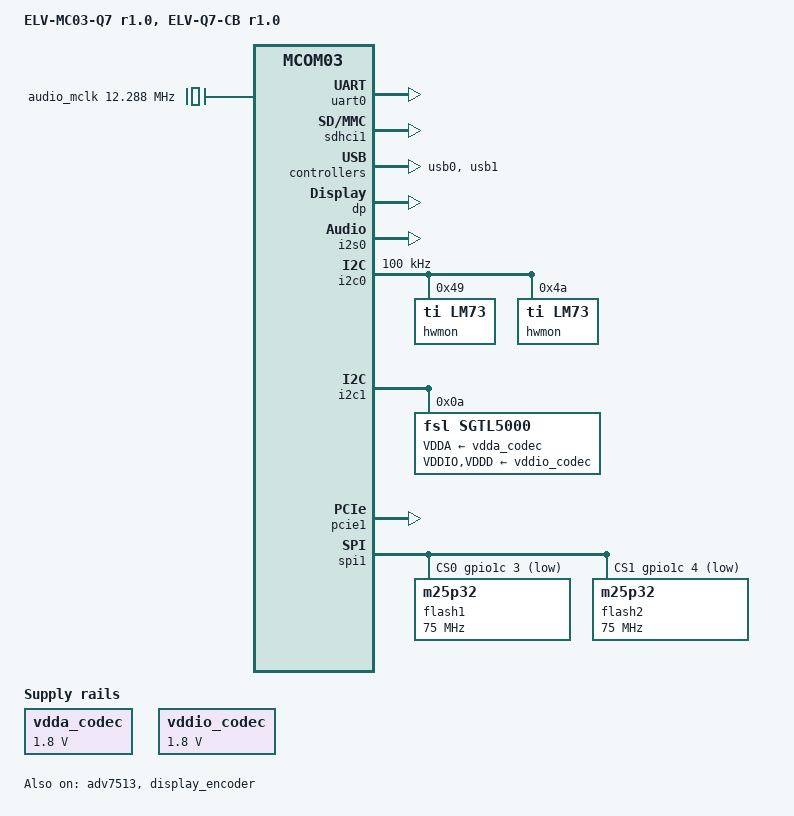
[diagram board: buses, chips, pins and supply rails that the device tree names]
// SPDX-License-Identifier: GPL-2.0+
/*
 * Copyright 2023 RnD Center "ELVEES", JSC
 */

/dts-v1/;

#include <dt-bindings/gpio/gpio.h>

#include "mcom03-elvmc03q7-r1.0.dtsi"

/ {
	model = "ELV-MC03-Q7 r1.0, ELV-Q7-CB r1.0";
	compatible = "elvees,elvmc03q7-r1.0-elvq7cb-r1.0",
		     "elvees,elvmc03q7-elvq7cb",
		     "elvees,elvq7cb-r1.0",
		     "elvees,elvq7cb",
		     "elvees,elvmc03q7-r1.0",
		     "elvees,elvmc03q7",
		     "elvees,mcom03";

	chosen {
		stdout-path = "serial0:115200n8";
	};

	vdda_codec: vdda-codec {
		compatible = "regulator-fixed";
		regulator-name = "vdda-codec";
		regulator-min-microvolt = <1800000>;
		regulator-max-microvolt = <1800000>;
		regulator-always-on;
	};

	vddio_codec: vddio-codec {
		compatible = "regulator-fixed";
		regulator-name = "vddio-codec";
		regulator-min-microvolt = <1800000>;
		regulator-max-microvolt = <1800000>;
		regulator-always-on;
	};

	/* "G1" oscillator */
	audio_mclk: audio_mclk {
		#clock-cells = <0>;
		compatible = "fixed-clock";
		clock-frequency = <12288000>;
	};

	/* TRS (3.5mm jack) connected to SGTL5000 codec.
	   SGTL5000 connected to MCom-03 I2S0 as I2S slave.
	   */
	elvq7cb_i2s_asound {
		compatible = "simple-audio-card";
		simple-audio-card,name = "sgtl5000";
		simple-audio-card,format = "i2s";
		simple-audio-card,bitclock-master = <&dailink0_master>;
		simple-audio-card,frame-master = <&dailink0_master>;
		simple-audio-card,routing =
			"MIC_IN", "Mic Bias";

		dailink0_master: simple-audio-card,cpu {
			sound-dai = <&i2s0>;
		};

		simple-audio-card,codec {
			sound-dai = <&sgtl5000>;
		};
	};
};

&uart0 {
	status = "okay";
	clock-frequency = <27920454>;
};

&sdhci1 {
	status = "okay";

	/* Disable 1.8V support
	 * Disable SDR50, SDR104 and DDR50 support
	 */
	sdhci-caps-mask = <0x7 0x4000000>;
	sdhci-caps = <0x0 0x0>;
};

/* Connected to USB 2.0 (USB1) */
&usb0 {
	status = "okay";
};

/* Connected to USB 2.0 (USB0, USB2-3) */
&usb1 {
	status = "okay";
};

/* The board has a video output interface */
&dp {
	status = "okay";
};

/* Connected to HDMI plug */
&adv7513 {
	status = "okay";
};

&display_encoder {
	status = "okay";
	video-output = "rgb";
};

&i2s0 {
	status = "okay";
};

&i2c0 {
	status = "okay";
	clock-frequency = <100000>;

	hwmon@49 {
		compatible = "ti,lm73";
		reg = <0x49>;
	};

	hwmon@4a {
		compatible = "ti,lm73";
		reg = <0x4a>;
	};
};

&i2c1 {
	status = "okay";

	sgtl5000: codec@a {
		status = "okay";
		compatible = "fsl,sgtl5000";
		reg = <0x0a>;
		#sound-dai-cells = <0>;
		clocks = <&audio_mclk>;
		clock-names = "mclk";
		micbias-resistor-k-ohms = <2>;
		micbias-voltage-m-volts = <2250>;
		VDDA-supply = <&vdda_codec>;
		VDDIO-supply = <&vddio_codec>;
		VDDD-supply = <&vddio_codec>;
	};
};

/* Connected to PCIe bridge */
&pcie1 {
	status = "okay";
};

&spi1 {
	status = "okay";
	num-cs = <2>;
	cs-gpios = <&gpio1c 3 GPIO_ACTIVE_LOW>, <&gpio1c 4 GPIO_ACTIVE_LOW>;

	flash1: m25p32@0 {
		#address-cells = <1>;
		#size-cells = <1>;
		compatible = "m25p32", "jedec,spi-nor";
		spi-max-frequency = <75000000>;
		reg = <0x0>;
	};

	flash2: m25p32@1 {
		#address-cells = <1>;
		#size-cells = <1>;
		compatible = "m25p32", "jedec,spi-nor";
		spi-max-frequency = <75000000>;
		reg = <0x1>;
	};
};
